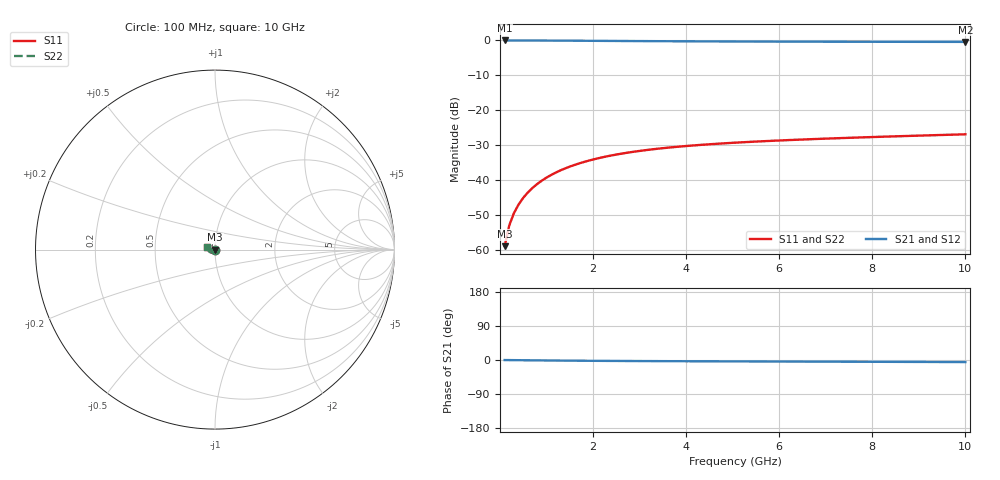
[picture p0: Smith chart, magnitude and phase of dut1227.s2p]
! Touchstone file exported from HFSS 2024.1.0
!  File:  C:/UserFiles/LocalFiles/RDL_TSV_Batchsim/temp_TSV1_1227_1780250037.aedt
!  Generated:  02:00:54 AM Jun  1, 2026
!  Design:  TSV1
!  Project:  temp_TSV1_1227_1780250037
!  Setup:  Setup1
!  Solution:  Sweep
! Variables:
!  dtsv = 9.26um
!  hbump = 3um
!  htsv = 83.57um
!  lrdl = 252.1521522um
!  p = 40
!  p1 = 55.07um
!  t = 500um
!  trdl = 3um
!  wrdl = 24.89489489um
# GHz S MA R 50.000000
! Terminal data exported
! Port[1] = TSV22_T1
! Port[2] = TSV22_T2
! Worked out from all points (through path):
!   100 points, 100 MHz to 10 GHz, reference 50 ohm
!   highest |S21| = 0.00 dB at 100 MHz (marker M1); lowest = -0.4 dB at 10 GHz (marker M2)
!   lowest |S11| = -59.0 dB at 100 MHz (marker M3), VSWR 1.00, Z = 50 - j0.111 ohm
!   |S11| at or under -10 dB: start of sweep to end of sweep
!   |S22| runs from -59.0 to -26.9 dB; largest |S21 - S12| = 5.1e-15
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0.1  0.001122 -83.2  0.9998 -0.1  0.9998 -0.1  0.001122 -83.2
! Gamma 0 0 0 0
! Port Impedance 50 0 50 0
0.2  0.002227 -89.4  0.9997 -0.3  0.9997 -0.3  0.002227 -89.4
0.3  0.003335 -92.8  0.9994 -0.4  0.9994 -0.4  0.003335 -92.8
0.4  0.004439 -95.6  0.9992 -0.5  0.9992 -0.5  0.004439 -95.6
0.5  0.005535 -98.0  0.9988 -0.6  0.9988 -0.6  0.005535 -98.0
0.6  0.006618 -100.3  0.9984 -0.7  0.9984 -0.7  0.006618 -100.3
0.7  0.007688 -102.5  0.9979 -0.9  0.9979 -0.9  0.007688 -102.5
0.8  0.00874 -104.6  0.9973 -1.0  0.9973 -1.0  0.00874 -104.6
0.9  0.009774 -106.7  0.9967 -1.1  0.9967 -1.1  0.009774 -106.7
1.1  0.01178 -110.7  0.9954 -1.3  0.9954 -1.3  0.01178 -110.7
1.4  0.01462 -116.4  0.993 -1.6  0.993 -1.6  0.01462 -116.4
1.6  0.01639 -120.0  0.9913 -1.8  0.9913 -1.8  0.01639 -120.0
1.8  0.01806 -123.5  0.9896 -2.0  0.9896 -2.0  0.01806 -123.5
2.1  0.02037 -128.5  0.9869 -2.2  0.9869 -2.2  0.02037 -128.5
2.5  0.02311 -134.6  0.9833 -2.5  0.9833 -2.5  0.02311 -134.6
2.9  0.0255 -140.3  0.9799 -2.7  0.9799 -2.7  0.0255 -140.3
3.4  0.02806 -146.7  0.976 -3.0  0.976 -3.0  0.02806 -146.7
4.2  0.03139 -155.7  0.9707 -3.4  0.9707 -3.4  0.03139 -155.7
5.1  0.03434 -164.3  0.966 -3.7  0.966 -3.7  0.03434 -164.3
6.7  0.03842 -176.9  0.9601 -4.3  0.9601 -4.3  0.03842 -176.9
8.4  0.04199 172.4  0.9561 -4.9  0.9561 -4.9  0.04199 172.4
10  0.04509 164.0  0.9535 -5.5  0.9535 -5.5  0.04509 164.0
